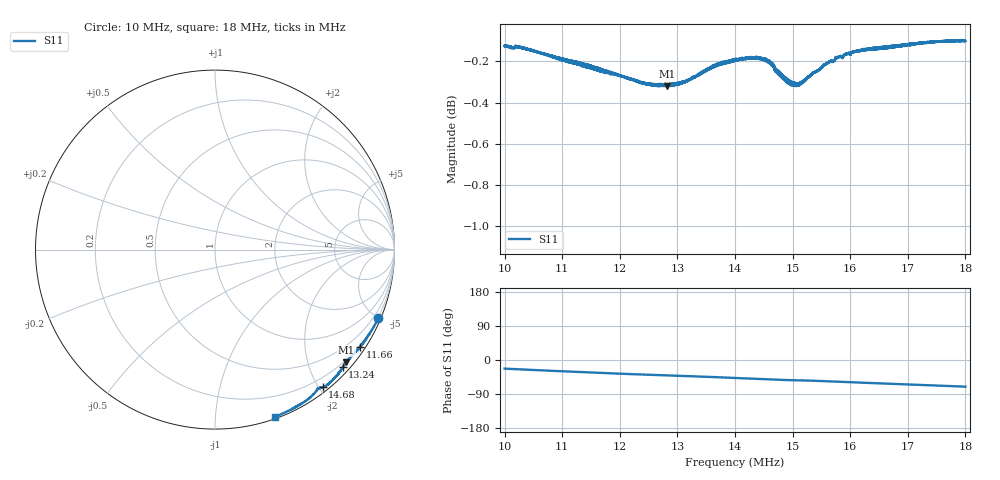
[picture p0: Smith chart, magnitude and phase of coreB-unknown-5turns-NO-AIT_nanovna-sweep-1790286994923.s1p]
! NanoVNA Web complex sweep
! Processing: unaveraged complex samples; linear segment spacing; no smoothing
# Hz S RI R 50
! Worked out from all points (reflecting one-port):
!   10100 points, 10 MHz to 18 MHz, reference 50 ohm
!   lowest |S11| = -0.3 dB at 12.83 MHz (marker M1), VSWR 54.01, Z = 7.67 - j135 ohm
!   phase of S11 starts at -23 deg and turns -48 deg over the sweep
!   S11 on the Smith chart (normalised r, x): 10 MHz: 0.18, -4.96; 11.66 MHz: 0.16, -3.26; 13.24 MHz: 0.12, -2.55; 14.68 MHz: 0.07, -2.05; 18 MHz: 0.02, -1.42
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1e7  0.9089 -0.3813
1.030096e7  0.8932 -0.4145
1.064073e7  0.8724 -0.4502
1.10003e7  0.8487 -0.4854
1.139154e7  0.8248 -0.521
1.165845e7  0.8068 -0.5442
1.19998e7  0.7835 -0.5711
1.239184e7  0.7574 -0.5985
1.282744e7  0.7316 -0.6272
1.30001e7  0.7227 -0.6398
1.323532e7  0.7112 -0.6562
1.358538e7  0.6919 -0.6858
1.39996e7  0.6618 -0.7199
1.42467e7  0.6416 -0.7394
1.446213e7  0.6222 -0.7555
1.461182e7  0.608 -0.7647
1.468389e7  0.5993 -0.7666
1.485179e7  0.5856 -0.7701
1.49991e7  0.5762 -0.7735
1.507514e7  0.5714 -0.7763
1.515592e7  0.5695 -0.7794
1.536818e7  0.5605 -0.7932
1.557568e7  0.5463 -0.8085
1.59994e7  0.5122 -0.8366
1.640332e7  0.4771 -0.8609
1.69989e7  0.4248 -0.8905
1.755964e7  0.3738 -0.9148
1.799841e7  0.3326 -0.9308
